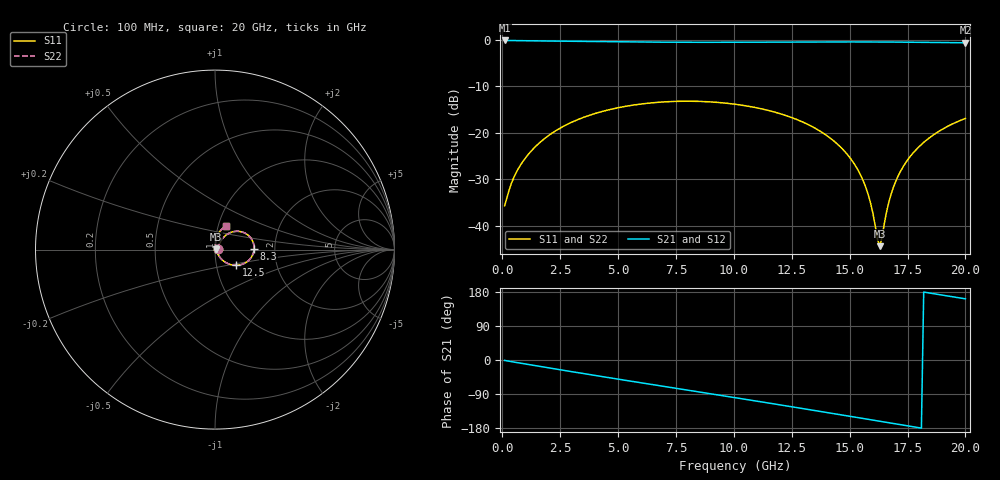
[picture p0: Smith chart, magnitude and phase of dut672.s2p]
! Touchstone file exported from HFSS 2026.1.0
!  File:  C:/ffzhzh/LocalFiles/Ansys_Project_Files/temp_train_TSV_RDL_672_1783132508_35180.aedt
!  Generated:  10:45:27 AM Jul  4, 2026
!  Design:  TSV_RDL
!  Project:  temp_train_TSV_RDL_672_1783132508_35180
! Variables:
!  h_bsmrdl = 2.3um
!  h_ox = 20um
!  h_rdl = 5um
!  h_sub = 91.55um
!  h_tmrdl = 5.44um
!  h_tsv = 91.55um
!  h_via = 3um
!  l_bsmrdl = 502.9um
!  l_sub = 3131.14um
!  l_tmrdl = 273.57um
!  m_sub = 200um
!  pitch = 32.83um
!  r_tsv = 7.93um
!  s_tmrdl = 10um
!  w_bsmrdl = 26.43um
!  w_sub = 500um
!  w_tmrdl = 16.29um
!  x_tsv_center1 = 281.715um
!  x_tsv_center2 = 811.045um
!  x_tsv_center3 = 1100.905um
!  x_tsv_center4 = 1630.235um
!  x_tsv_center5 = 1920.095um
!  x_tsv_center6 = 2449.425um
# GHz S MA R 50.000000
! Terminal data exported
! Port[1] = TM_RDL1_1_T1
! Port[2] = TM_RDL5_1_T1
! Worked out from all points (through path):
!   200 points, 100 MHz to 20 GHz, reference 50 ohm
!   highest |S21| = -0.13 dB at 100 MHz (marker M1); lowest = -0.6 dB at 20 GHz (marker M2)
!   group delay of S21, straight-line fit = 27.4 ps
!   lowest |S11| = -44.4 dB at 16.3 GHz (marker M3), VSWR 1.01, Z = 50.6 + j0.167 ohm
!   |S11| at or under -10 dB: start of sweep to end of sweep
!   |S22| runs from -44.3 to -13.2 dB; largest |S21 - S12| = 9e-14
!   S11 on the Smith chart (normalised r, x): 100 MHz: 1.03, +0.01; 8.3 GHz: 1.56, +0.02; 12.5 GHz: 1.24, -0.22; 20 GHz: 1.09, +0.29
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0.1  0.01632 21.2  0.9849 -1.1  0.9849 -1.1  0.01632 21.2
! Gamma 0 0 0 0
! Port Impedance 50 0 50 0
0.5  0.03304 49.6  0.9806 -5.4  0.9806 -5.4  0.03304 49.6
1.2  0.06152 56.0  0.9756 -12.6  0.9756 -12.6  0.06152 56.0
2.2  0.1009 52.9  0.9697 -22.7  0.9697 -22.7  0.1009 52.9
3.5  0.146 43.5  0.9613 -35.7  0.9613 -35.7  0.146 43.5
5.2  0.1899 29.1  0.9509 -52.5  0.9509 -52.5  0.1899 29.1
6.8  0.2132 14.9  0.9441 -68.0  0.9441 -68.0  0.2132 14.9
8.3  0.218 1.3  0.9411 -82.4  0.9411 -82.4  0.218 1.3
10.1  0.2019 -15.1  0.9419 -99.8  0.9419 -99.8  0.2019 -15.1
12.5  0.1455 -37.1  0.9471 -123.4  0.9471 -123.4  0.1455 -37.1
13.4  0.1157 -45.1  0.9489 -132.4  0.9489 -132.4  0.1157 -45.1
14.5  0.07436 -54.2  0.95 -143.4  0.95 -143.4  0.07438 -54.2
15.3  0.04211 -58.5  0.9497 -151.5  0.9497 -151.5  0.04213 -58.4
15.8  0.02167 -55.5  0.9491 -156.6  0.9491 -156.6  0.0217 -55.3
16  0.01378 -47.7  0.9487 -158.6  0.9487 -158.6  0.01382 -47.5
16.2  0.00719 -19.0  0.9482 -160.6  0.9482 -160.6  0.00726 -18.8
16.3  0.006001 15.9  0.948 -161.6  0.948 -161.6  0.006075 15.8
16.7  0.01813 80.3  0.9468 -165.7  0.9468 -165.7  0.01814 80.0
17.1  0.03438 85.7  0.9453 -169.7  0.9453 -169.7  0.03438 85.5
17.8  0.06284 83.4  0.9423 -176.7  0.9423 -176.7  0.06283 83.3
18.8  0.1014 75.8  0.9369 173.3  0.9369 173.3  0.1014 75.7
20  0.1425 65.3  0.9296 161.4  0.9296 161.4  0.1425 65.2
